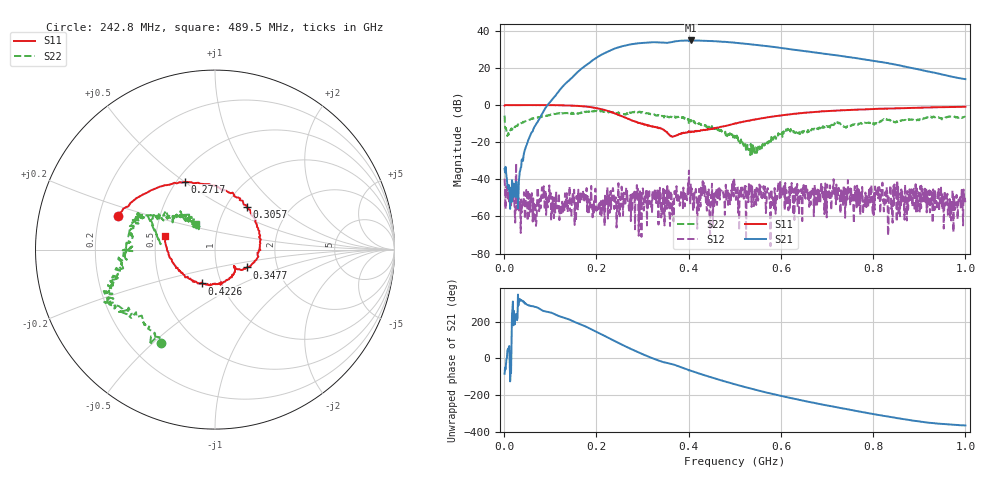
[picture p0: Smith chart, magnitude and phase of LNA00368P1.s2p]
! Created with skrf 1.9.0 (http://scikit-rf.org).
# Hz S RI R 50.0
!freq ReS11 ImS11 ReS21 ImS21 ReS12 ImS12 ReS22 ImS22
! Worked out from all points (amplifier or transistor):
!   1001 points, 1 MHz to 1 GHz, reference 50 ohm
!   highest |S21| = 34.8 dB at 404.6 MHz (marker M1)
!   |S21| within 3 dB of that: 258.1 MHz to 568 MHz (309.9 MHz wide, 75 % of centre)
!   unconditionally stable (mu >= 1): start of sweep to 57.45 MHz; 289.7 MHz to 400.4 MHz; 400.7 MHz to end of sweep (the widest 3 of 33)
!   at 166.8 MHz: K = 1.03, MAG = 34.5 dB, |S12| = -51.8 dB
!   at 500.5 MHz: K = 1.39, MAG = 34.4 dB, |S12| = -42.7 dB
!   at 1 GHz: K = 6.84, MAG = 22.2 dB, |S12| = -53.0 dB
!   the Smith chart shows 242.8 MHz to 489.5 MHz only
!   S11 on the Smith chart (normalised r, x): 242.8 MHz: 0.28, +0.16; 271.7 MHz: 0.55, +0.50; 305.7 MHz: 1.24, +0.65; 347.7 MHz: 1.40, -0.29; 422.6 MHz: 0.81, -0.32; 489.5 MHz: 0.56, +0.09
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1000000  0.9698 0.000719  0.0018 -0.0188  0.00703 0.00768  0.3967 0.3385
1.07893e8  0.5177 -0.8523  -0.7402 -1.43  0.000647 0.000627  0.4413 -0.3823
1.67833e8  -0.2578 -0.8935  -9.573 -0.5378  0.00076 -0.00242  0.035 -0.6341
2.09791e8  -0.6944 -0.3503  -15.13 16.29  0.00245 -0.000878  -0.2053 -0.6396
2.42758e8  -0.5404 0.1897  -0.0671 34.01  0.00278 -0.00106  -0.3031 -0.5183
2.71729e8  -0.1685 0.3773  24.69 34.4  0.00027 0.00227  -0.4832 -0.3353
3.05695e8  0.1756 0.2391  45.6 13.47  -0.00256 0.000958  -0.5864 -0.2144
3.34666e8  0.2425 -0.0152  47.68 -10.31  0.000469 -0.000381  -0.5243 -0.0649
3.47653e8  0.1791 -0.0991  44.12 -18.27  0.000538 -0.000196  -0.5143 -0.00426
3.75625e8  0.112 -0.1063  39.45 -35.33  -0.00187 0.00192  -0.4418 0.1665
4.04596e8  0.0268 -0.1931  20.44 -50.99  0.00146 0.00747  -0.3068 0.1887
4.22578e8  -0.073 -0.1888  6.326 -53.97  0.00475 0.00283  -0.2489 0.177
4.53547e8  -0.2087 -0.105  -15.98 -50.14  0.00375 0.00202  -0.1575 0.1702
4.89511e8  -0.2811 0.0761  -34.47 -34.84  -0.000315 0.0021  -0.1034 0.1414
5.005e8  -0.2863 0.1422  -38.02 -29.26  0.00293 0.00674  -0.0712 0.1095
5.39461e8  -0.2005 0.3506  -41.81 -8.431  0.00116 0.00449  -0.08 -0.0162
5.84416e8  0.00651 0.495  -35.3 10.45  0.00253 -0.0015  -0.0969 -0.0562
6.25375e8  0.2057 0.5384  -24.2 19.81  0.00275 -0.00406  -0.1568 -0.1082
6.67333e8  0.4139 0.494  -12.7 23.36  -0.000222 -0.00437  -0.2214 -0.0604
7.53247e8  0.691 0.2694  4.251 18.59  0.000289 -0.00262  -0.2757 -0.0125
8.34166e8  0.8045 -0.00271  10.03 8.679  0.00238 -0.0025  -0.3909 0.00121
1e9  0.717 -0.5457  4.956 -0.595  -0.000903 -0.00204  -0.3405 0.3374
